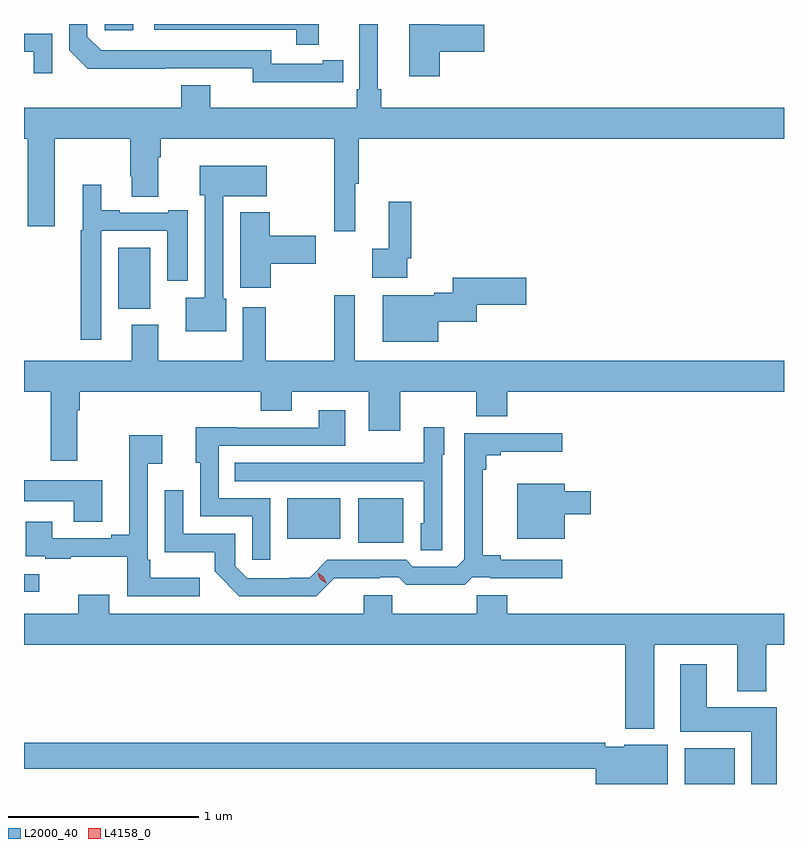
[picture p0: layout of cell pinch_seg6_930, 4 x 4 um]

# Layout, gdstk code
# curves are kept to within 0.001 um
import gdstk
lib = gdstk.Library(unit=1e-6, precision=1e-09)
def R(c, l, rs):  # rectangles x0, y0, x1, y1
    for r in rs: c.add(gdstk.rectangle(r[:2], r[2:], *l))
def P(c, l, *ps):  # polygons
    for p in ps: c.add(gdstk.Polygon(p, *l))
L2000_40 = (2000, 40)
L4158_0 = (4158, 0)

pinch_seg6_930 = lib.new_cell('pinch_seg6_930')
R(pinch_seg6_930, L2000_40, [(260.249,929.288,260.512,929.476), (256.772,930.299,256.852,930.393), (258.53,930.557,258.769,930.793), (258.158,930.578,258.436,930.793), (257.267,931.79,257.437,932.11), (257.196,933.255,257.347,933.288)])
P(pinch_seg6_930, L2000_40, [(258.344,932.982),(258.452,932.982),(258.452,933.098),(258.344,933.098),(258.344,933.078),(258.072,933.078),(258.072,933.15),(257.178,933.15),(257.106,933.222),(257.106,933.288),(257.01,933.288),(257.01,933.15),(257.108,933.053),(257.976,933.054),(257.976,932.981)],
  [(258.959,933.142),(259.195,933.142),(259.195,933.284),(258.959,933.284),(258.959,933.288),(258.8,933.288),(258.8,933.012),(258.959,933.012)],
  [(258.323,933.288),(257.457,933.288),(257.457,933.258),(258.205,933.258),(258.205,933.18),(258.323,933.18)],
  [(256.92,933.237),(256.772,933.237),(256.772,933.141),(256.823,933.141),(256.823,933.03),(256.92,933.03)],
  [(258.537,933.288),(258.537,932.944),(258.524,932.944),(258.524,932.848),(257.752,932.848),(257.752,932.965),(257.6,932.965),(257.6,932.848),(256.772,932.848),(256.772,932.684),(256.793,932.684),(256.793,932.223),(256.933,932.223),(256.933,932.684),(257.332,932.684),(257.332,932.488),(257.339,932.488),(257.339,932.38),(257.479,932.38),(257.479,932.588),(257.492,932.588),(257.492,932.684),(258.404,932.684),(258.404,932.196),(258.515,932.196),(258.515,932.448),(258.533,932.448),(258.533,932.684),(260.772,932.684),(260.772,932.848),(258.653,932.848),(258.653,932.944),(258.634,932.944),(258.634,933.288)],
  [(257.836,931.842),(257.82,931.842),(257.82,932.381),(258.049,932.381),(258.049,932.542),(257.696,932.542),(257.696,932.388),(257.724,932.388),(257.724,931.846),(257.624,931.846),(257.624,931.67),(257.836,931.67)],
  [(257.178,932.199),(257.525,932.199),(257.525,931.938),(257.635,931.938),(257.635,932.308),(257.531,932.308),(257.531,932.295),(257.275,932.295),(257.275,932.308),(257.179,932.308),(257.179,932.443),(257.081,932.443),(257.081,932.202),(257.07,932.202),(257.07,931.626),(257.178,931.626)],
  [(258.789,932.056),(258.809,932.056),(258.809,932.353),(258.692,932.353),(258.692,932.105),(258.606,932.105),(258.606,931.952),(258.789,931.952)],
  [(258.071,932.027),(258.307,932.027),(258.307,932.174),(258.066,932.174),(258.066,932.296),(257.909,932.296),(257.909,931.899),(258.071,931.899)],
  [(258.952,931.721),(259.156,931.721),(259.156,931.81),(259.416,931.81),(259.416,931.952),(259.028,931.952),(259.028,931.874),(258.932,931.874),(258.932,931.861),(258.659,931.861),(258.659,931.616),(258.952,931.616)],
  [(256.772,931.352),(256.913,931.352),(256.913,930.99),(257.053,930.99),(257.053,931.256),(257.066,931.256),(257.066,931.352),(258.017,931.352),(258.017,931.253),(258.181,931.253),(258.181,931.352),(258.587,931.352),(258.587,931.146),(258.751,931.146),(258.751,931.352),(259.151,931.352),(259.151,931.224),(259.315,931.224),(259.315,931.352),(260.772,931.352),(260.772,931.516),(258.514,931.516),(258.514,931.861),(258.404,931.861),(258.404,931.516),(258.045,931.516),(258.045,931.798),(257.924,931.798),(257.924,931.516),(257.479,931.516),(257.479,931.705),(257.339,931.705),(257.339,931.516),(256.772,931.516)],
  [(258.069,930.792),(257.796,930.792),(257.796,931.068),(258.463,931.068),(258.463,931.255),(258.323,931.255),(258.323,931.164),(257.893,931.164),(257.893,931.166),(257.675,931.166),(257.675,930.978),(257.7,930.978),(257.7,930.696),(257.973,930.696),(257.973,930.468),(258.069,930.468)],
  [(258.972,931.02),(258.985,931.02),(258.985,931.165),(258.876,931.165),(258.876,930.979),(258.559,930.979),(258.559,930.978),(257.881,930.978),(257.881,930.882),(258.876,930.882),(258.876,930.66),(258.86,930.66),(258.86,930.517),(258.972,930.517)],
  [(258.404,930.371),(258.644,930.371),(258.644,930.375),(258.744,930.375),(258.784,930.336),(259.091,930.336),(259.131,930.375),(259.225,930.375),(259.225,930.371),(259.606,930.371),(259.606,930.468),(259.282,930.468),(259.282,930.491),(259.187,930.491),(259.187,930.941),(259.205,930.941),(259.205,931.018),(259.282,931.018),(259.282,931.037),(259.606,931.037),(259.606,931.134),(259.089,931.134),(259.089,930.471),(259.05,930.432),(258.819,930.432),(258.783,930.468),(258.369,930.468),(258.275,930.374),(258.17,930.374),(258.17,930.372),(257.946,930.372),(257.883,930.435),(257.883,930.606),(257.61,930.606),(257.61,930.835),(257.514,930.835),(257.514,930.509),(257.776,930.509),(257.776,930.407),(257.906,930.276),(258.309,930.276)],
  [(257.698,930.373),(257.437,930.373),(257.437,930.469),(257.424,930.469),(257.424,930.974),(257.5,930.974),(257.5,931.123),(257.327,931.123),(257.327,930.601),(257.231,930.601),(257.231,930.582),(256.921,930.582),(256.921,930.667),(256.781,930.667),(256.781,930.486),(256.885,930.486),(256.885,930.474),(257.017,930.474),(257.017,930.485),(257.316,930.485),(257.316,930.276),(257.698,930.276)],
  [(257.185,930.886),(256.772,930.886),(256.772,930.776),(257.033,930.776),(257.033,930.667),(257.185,930.667)],
  [(259.618,930.707),(259.756,930.707),(259.756,930.829),(259.618,930.829),(259.618,930.868),(259.367,930.868),(259.367,930.578),(259.618,930.578)],
  [(260.089,930.02),(260.525,930.02),(260.525,929.777),(260.678,929.777),(260.678,930.02),(260.772,930.02),(260.772,930.184),(259.316,930.184),(259.316,930.282),(259.156,930.282),(259.156,930.184),(258.711,930.184),(258.711,930.282),(258.56,930.282),(258.56,930.184),(257.221,930.184),(257.221,930.283),(257.057,930.283),(257.057,930.184),(256.772,930.184),(256.772,930.02),(259.937,930.02),(259.937,929.579),(260.089,929.579)],
  [(260.735,929.692),(260.365,929.692),(260.365,929.917),(260.225,929.917),(260.225,929.564),(260.6,929.564),(260.6,929.288),(260.735,929.288)],
  [(260.161,929.494),(259.932,929.494),(259.932,929.484),(259.832,929.484),(259.832,929.504),(256.772,929.504),(256.772,929.368),(259.781,929.368),(259.781,929.288),(260.161,929.288)])
P(pinch_seg6_930, L4158_0, [(258.363,930.344),(258.332,930.365),(258.317,930.399),(258.317,930.399),(258.317,930.399),(258.348,930.378),(258.363,930.344),(258.363,930.344)])

lib.write_gds('pinch_seg6_930.gds')
